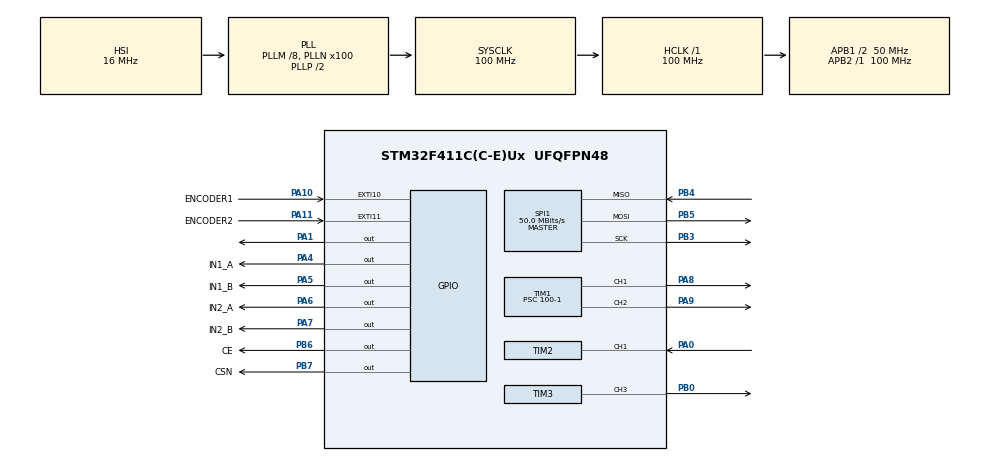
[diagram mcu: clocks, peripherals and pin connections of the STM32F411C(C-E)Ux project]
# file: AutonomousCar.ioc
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Mcu.Family=STM32F4
Mcu.Name=STM32F411C(C-E)Ux
Mcu.Package=UFQFPN48
NVIC.EXTI15_10_IRQn=true\:0\:0\:false\:false\:true\:true\:true\:true
NVIC.PriorityGroup=NVIC_PRIORITYGROUP_4
NVIC.TIM2_IRQn=true\:0\:0\:false\:false\:true\:true\:true\:true
PA0-WKUP.Signal=S_TIM2_CH1_ETR
PA1.GPIO_Speed=GPIO_SPEED_FREQ_HIGH
PA1.Signal=GPIO_Output
PA10.GPIO_Label=ENCODER1
PA10.GPIO_PuPd=GPIO_PULLUP
PA10.Signal=GPXTI10
PA11.GPIO_Label=ENCODER2
PA11.GPIO_PuPd=GPIO_PULLUP
PA11.Signal=GPXTI11
PA13.Mode=Serial_Wire
PA13.Signal=SYS_JTMS-SWDIO
PA14.Mode=Serial_Wire
PA14.Signal=SYS_JTCK-SWCLK
PA4.GPIO_Label=IN1_A
PA4.Signal=GPIO_Output
PA5.GPIO_Label=IN1_B
PA5.Signal=GPIO_Output
PA6.GPIO_Label=IN2_A
PA6.Signal=GPIO_Output
PA7.GPIO_Label=IN2_B
PA7.Signal=GPIO_Output
PA8.Signal=S_TIM1_CH1
PA9.Signal=S_TIM1_CH2
PB0.Signal=S_TIM3_CH3
PB3.Mode=Full_Duplex_Master
PB3.Signal=SPI1_SCK
PB4.Mode=Full_Duplex_Master
PB4.Signal=SPI1_MISO
PB5.Mode=Full_Duplex_Master
PB5.Signal=SPI1_MOSI
PB6.GPIO_Label=CE
PB6.Signal=GPIO_Output
PB7.GPIO_Label=CSN
PB7.Signal=GPIO_Output
PH0\ -\ OSC_IN.Mode=HSE-External-Oscillator
PH0\ -\ OSC_IN.Signal=RCC_OSC_IN
PH1\ -\ OSC_OUT.Mode=HSE-External-Oscillator
PH1\ -\ OSC_OUT.Signal=RCC_OSC_OUT
ProjectManager.HeapSize=0x200
ProjectManager.StackSize=0x400
ProjectManager.TargetToolchain=MDK-ARM V5.32
RCC.48MHZClocksFreq_Value=50000000
RCC.AHBFreq_Value=100000000
RCC.APB1CLKDivider=RCC_HCLK_DIV2
RCC.APB1Freq_Value=50000000
RCC.APB1TimFreq_Value=100000000
RCC.APB2Freq_Value=100000000
RCC.APB2TimFreq_Value=100000000
RCC.CortexFreq_Value=100000000
RCC.HCLKFreq_Value=100000000
RCC.HSE_VALUE=25000000
RCC.HSI_VALUE=16000000
RCC.LSE_VALUE=32768
RCC.PLLM=8
RCC.PLLN=100
RCC.SYSCLKFreq_VALUE=100000000
RCC.SYSCLKSource=RCC_SYSCLKSOURCE_PLLCLK
RCC.VCOOutputFreq_Value=200000000
SH.S_TIM1_CH1.0=TIM1_CH1,PWM Generation1 CH1
SH.S_TIM1_CH2.0=TIM1_CH2,PWM Generation2 CH2
SH.S_TIM2_CH1_ETR.0=TIM2_CH1,Input_Capture1_from_TI1
SH.S_TIM3_CH3.0=TIM3_CH3,PWM Generation3 CH3
SPI1.CalculateBaudRate=50.0 MBits/s
SPI1.Direction=SPI_DIRECTION_2LINES
SPI1.Mode=SPI_MODE_MASTER
SPI1.VirtualType=VM_MASTER
TIM1.Channel-PWM\ Generation1\ CH1=TIM_CHANNEL_1
TIM1.Channel-PWM\ Generation2\ CH2=TIM_CHANNEL_2
TIM1.Period=2000
TIM1.Prescaler=100-1
TIM1.Pulse-PWM\ Generation1\ CH1=800
TIM1.Pulse-PWM\ Generation2\ CH2=800
TIM2.Channel-Input_Capture1_from_TI1=TIM_CHANNEL_1
TIM2.Period=0xffffffff
TIM2.Prescaler=100-1
TIM3.Channel-PWM\ Generation3\ CH3=TIM_CHANNEL_3
TIM3.Period=20000
TIM3.Prescaler=100-1
TIM3.Pulse-PWM\ Generation3\ CH3=1000
VP_TIM1_VS_ClockSourceINT.Mode=Internal
VP_TIM2_VS_ClockSourceINT.Mode=Internal
VP_TIM3_VS_ClockSourceINT.Mode=Internal
board=custom

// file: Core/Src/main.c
/* USER CODE BEGIN Header */
/**
  ******************************************************************************
  * @file           : main.c
  * @brief          : Main program body
  ******************************************************************************
  * @attention
  *
  * Copyright (c) 2023 STMicroelectronics.
  * All rights reserved.
  *
  * This software is licensed under terms that can be found in the LICENSE file
  * in the root directory of this software component.
  * If no LICENSE file comes with this software, it is provided AS-IS.
  *
  ******************************************************************************
  */
/* USER CODE END Header */
#include "main.h"

/* USER CODE BEGIN Includes */
#include "delayUs.h"
#include "HC_SR04.h"
#include "NRF24L01.h"
/* USER CODE END Includes */

/* USER CODE BEGIN PD */
#define MAX_LENGTH_DATA 32
/* USER CODE END PD */

SPI_HandleTypeDef hspi1;

TIM_HandleTypeDef htim1;
TIM_HandleTypeDef htim2;
TIM_HandleTypeDef htim3;

/* USER CODE BEGIN PV */
extern uint8_t Distance;
uint32_t count = 0;

uint8_t RX_Address[] = {0xEE, 0xDD, 0xCC, 0xBB, 0xAA};
uint8_t RX_Data[MAX_LENGTH_DATA];
/* USER CODE END PV */

void SystemClock_Config(void);
static void MX_GPIO_Init(void);
static void MX_TIM1_Init(void);
static void MX_TIM2_Init(void);
static void MX_SPI1_Init(void);
static void MX_TIM3_Init(void);

int main(void)
{

  /* MCU Configuration--------------------------------------------------------*/

  /* Reset of all peripherals, Initializes the Flash interface and the Systick. */
  HAL_Init();

  /* Configure the system clock */
  SystemClock_Config();

  /* Initialize all configured peripherals */
  MX_GPIO_Init();
  MX_TIM1_Init();
  MX_TIM2_Init();
  MX_SPI1_Init();
  MX_TIM3_Init();
  /* USER CODE BEGIN 2 */
	NRF24_Init();
	NRF24_RxMode(RX_Address, 10);

	HAL_TIM_IC_Start_IT(&htim2, TIM_CHANNEL_1);
	HAL_TIM_PWM_Start(&htim1, TIM_CHANNEL_1);
	HAL_TIM_PWM_Start(&htim1, TIM_CHANNEL_2);
	__HAL_TIM_SET_COMPARE(&htim1, TIM_CHANNEL_1, 500);
  __HAL_TIM_SET_COMPARE(&htim1, TIM_CHANNEL_2, 500);
	HAL_GPIO_WritePin(GPIOA, IN1_A_Pin, GPIO_PIN_SET);
	HAL_GPIO_WritePin(GPIOA, IN1_B_Pin, GPIO_PIN_RESET);
	HAL_GPIO_WritePin(GPIOA, IN2_A_Pin, GPIO_PIN_SET);
	HAL_GPIO_WritePin(GPIOA, IN2_B_Pin, GPIO_PIN_RESET);
  /* USER CODE END 2 */

  /* Infinite loop */
  /* USER CODE BEGIN WHILE */
  while (1)
  {
		//HCSR04_Read();

		if (isDataAvailable(1) == 1)
		{
			count++;
			NRF24_Receive(RX_Data);
		}
		HAL_Delay(80);
    /* USER CODE END WHILE */

  }
}

void SystemClock_Config(void)
{
  RCC_OscInitTypeDef RCC_OscInitStruct = {0};
  RCC_ClkInitTypeDef RCC_ClkInitStruct = {0};

  /** Configure the main internal regulator output voltage
  */
  __HAL_RCC_PWR_CLK_ENABLE();
  __HAL_PWR_VOLTAGESCALING_CONFIG(PWR_REGULATOR_VOLTAGE_SCALE1);

  /** Initializes the RCC Oscillators according to the specified parameters
  * in the RCC_OscInitTypeDef structure.
  */
  RCC_OscInitStruct.OscillatorType = RCC_OSCILLATORTYPE_HSI;
  RCC_OscInitStruct.HSIState = RCC_HSI_ON;
  RCC_OscInitStruct.HSICalibrationValue = RCC_HSICALIBRATION_DEFAULT;
  RCC_OscInitStruct.PLL.PLLState = RCC_PLL_ON;
  RCC_OscInitStruct.PLL.PLLSource = RCC_PLLSOURCE_HSI;
  RCC_OscInitStruct.PLL.PLLM = 8;
  RCC_OscInitStruct.PLL.PLLN = 100;
  RCC_OscInitStruct.PLL.PLLP = RCC_PLLP_DIV2;
  RCC_OscInitStruct.PLL.PLLQ = 4;
  if (HAL_RCC_OscConfig(&RCC_OscInitStruct) != HAL_OK)
  {
    Error_Handler();
  }

  /** Initializes the CPU, AHB and APB buses clocks
  */
  RCC_ClkInitStruct.ClockType = RCC_CLOCKTYPE_HCLK|RCC_CLOCKTYPE_SYSCLK
                              |RCC_CLOCKTYPE_PCLK1|RCC_CLOCKTYPE_PCLK2;
  RCC_ClkInitStruct.SYSCLKSource = RCC_SYSCLKSOURCE_PLLCLK;
  RCC_ClkInitStruct.AHBCLKDivider = RCC_SYSCLK_DIV1;
  RCC_ClkInitStruct.APB1CLKDivider = RCC_HCLK_DIV2;
  RCC_ClkInitStruct.APB2CLKDivider = RCC_HCLK_DIV1;

  if (HAL_RCC_ClockConfig(&RCC_ClkInitStruct, FLASH_LATENCY_3) != HAL_OK)
  {
    Error_Handler();
  }
}

static void MX_SPI1_Init(void)
{

  /* SPI1 parameter configuration*/
  hspi1.Instance = SPI1;
  hspi1.Init.Mode = SPI_MODE_MASTER;
  hspi1.Init.Direction = SPI_DIRECTION_2LINES;
  hspi1.Init.DataSize = SPI_DATASIZE_8BIT;
  hspi1.Init.CLKPolarity = SPI_POLARITY_LOW;
  hspi1.Init.CLKPhase = SPI_PHASE_1EDGE;
  hspi1.Init.NSS = SPI_NSS_SOFT;
  hspi1.Init.BaudRatePrescaler = SPI_BAUDRATEPRESCALER_2;
  hspi1.Init.FirstBit = SPI_FIRSTBIT_MSB;
  hspi1.Init.TIMode = SPI_TIMODE_DISABLE;
  hspi1.Init.CRCCalculation = SPI_CRCCALCULATION_DISABLE;
  hspi1.Init.CRCPolynomial = 10;
  if (HAL_SPI_Init(&hspi1) != HAL_OK)
  {
    Error_Handler();
  }

}

static void MX_TIM1_Init(void)
{

  TIM_ClockConfigTypeDef sClockSourceConfig = {0};
  TIM_MasterConfigTypeDef sMasterConfig = {0};
  TIM_OC_InitTypeDef sConfigOC = {0};
  TIM_BreakDeadTimeConfigTypeDef sBreakDeadTimeConfig = {0};

  htim1.Instance = TIM1;
  htim1.Init.Prescaler = 100-1;
  htim1.Init.CounterMode = TIM_COUNTERMODE_UP;
  htim1.Init.Period = 2000;
  htim1.Init.ClockDivision = TIM_CLOCKDIVISION_DIV1;
  htim1.Init.RepetitionCounter = 0;
  htim1.Init.AutoReloadPreload = TIM_AUTORELOAD_PRELOAD_DISABLE;
  if (HAL_TIM_Base_Init(&htim1) != HAL_OK)
  {
    Error_Handler();
  }
  sClockSourceConfig.ClockSource = TIM_CLOCKSOURCE_INTERNAL;
  if (HAL_TIM_ConfigClockSource(&htim1, &sClockSourceConfig) != HAL_OK)
  {
    Error_Handler();
  }
  if (HAL_TIM_PWM_Init(&htim1) != HAL_OK)
  {
    Error_Handler();
  }
  sMasterConfig.MasterOutputTrigger = TIM_TRGO_RESET;
  sMasterConfig.MasterSlaveMode = TIM_MASTERSLAVEMODE_DISABLE;
  if (HAL_TIMEx_MasterConfigSynchronization(&htim1, &sMasterConfig) != HAL_OK)
  {
    Error_Handler();
  }
  sConfigOC.OCMode = TIM_OCMODE_PWM1;
  sConfigOC.Pulse = 800;
  sConfigOC.OCPolarity = TIM_OCPOLARITY_HIGH;
  sConfigOC.OCNPolarity = TIM_OCNPOLARITY_HIGH;
  sConfigOC.OCFastMode = TIM_OCFAST_DISABLE;
  sConfigOC.OCIdleState = TIM_OCIDLESTATE_RESET;
  sConfigOC.OCNIdleState = TIM_OCNIDLESTATE_RESET;
  if (HAL_TIM_PWM_ConfigChannel(&htim1, &sConfigOC, TIM_CHANNEL_1) != HAL_OK)
  {
    Error_Handler();
  }
  if (HAL_TIM_PWM_ConfigChannel(&htim1, &sConfigOC, TIM_CHANNEL_2) != HAL_OK)
  {
    Error_Handler();
  }
  sBreakDeadTimeConfig.OffStateRunMode = TIM_OSSR_DISABLE;
  sBreakDeadTimeConfig.OffStateIDLEMode = TIM_OSSI_DISABLE;
  sBreakDeadTimeConfig.LockLevel = TIM_LOCKLEVEL_OFF;
  sBreakDeadTimeConfig.DeadTime = 0;
  sBreakDeadTimeConfig.BreakState = TIM_BREAK_DISABLE;
  sBreakDeadTimeConfig.BreakPolarity = TIM_BREAKPOLARITY_HIGH;
  sBreakDeadTimeConfig.AutomaticOutput = TIM_AUTOMATICOUTPUT_DISABLE;
  if (HAL_TIMEx_ConfigBreakDeadTime(&htim1, &sBreakDeadTimeConfig) != HAL_OK)
  {
    Error_Handler();
  }
  HAL_TIM_MspPostInit(&htim1);

}

static void MX_TIM2_Init(void)
{

  TIM_ClockConfigTypeDef sClockSourceConfig = {0};
  TIM_MasterConfigTypeDef sMasterConfig = {0};
  TIM_IC_InitTypeDef sConfigIC = {0};

  htim2.Instance = TIM2;
  htim2.Init.Prescaler = 100-1;
  htim2.Init.CounterMode = TIM_COUNTERMODE_UP;
  htim2.Init.Period = 0xffffffff;
  htim2.Init.ClockDivision = TIM_CLOCKDIVISION_DIV1;
  htim2.Init.AutoReloadPreload = TIM_AUTORELOAD_PRELOAD_DISABLE;
  if (HAL_TIM_Base_Init(&htim2) != HAL_OK)
  {
    Error_Handler();
  }
  sClockSourceConfig.ClockSource = TIM_CLOCKSOURCE_INTERNAL;
  if (HAL_TIM_ConfigClockSource(&htim2, &sClockSourceConfig) != HAL_OK)
  {
    Error_Handler();
  }
  if (HAL_TIM_IC_Init(&htim2) != HAL_OK)
  {
    Error_Handler();
  }
  sMasterConfig.MasterOutputTrigger = TIM_TRGO_RESET;
  sMasterConfig.MasterSlaveMode = TIM_MASTERSLAVEMODE_DISABLE;
  if (HAL_TIMEx_MasterConfigSynchronization(&htim2, &sMasterConfig) != HAL_OK)
  {
    Error_Handler();
  }
  sConfigIC.ICPolarity = TIM_INPUTCHANNELPOLARITY_RISING;
  sConfigIC.ICSelection = TIM_ICSELECTION_DIRECTTI;
  sConfigIC.ICPrescaler = TIM_ICPSC_DIV1;
  sConfigIC.ICFilter = 0;
  if (HAL_TIM_IC_ConfigChannel(&htim2, &sConfigIC, TIM_CHANNEL_1) != HAL_OK)
  {
    Error_Handler();
  }

}

static void MX_TIM3_Init(void)
{

  TIM_ClockConfigTypeDef sClockSourceConfig = {0};
  TIM_MasterConfigTypeDef sMasterConfig = {0};
  TIM_OC_InitTypeDef sConfigOC = {0};

  htim3.Instance = TIM3;
  htim3.Init.Prescaler = 100-1;
  htim3.Init.CounterMode = TIM_COUNTERMODE_UP;
  htim3.Init.Period = 20000;
  htim3.Init.ClockDivision = TIM_CLOCKDIVISION_DIV1;
  htim3.Init.AutoReloadPreload = TIM_AUTORELOAD_PRELOAD_DISABLE;
  if (HAL_TIM_Base_Init(&htim3) != HAL_OK)
  {
    Error_Handler();
  }
  sClockSourceConfig.ClockSource = TIM_CLOCKSOURCE_INTERNAL;
  if (HAL_TIM_ConfigClockSource(&htim3, &sClockSourceConfig) != HAL_OK)
  {
    Error_Handler();
  }
  if (HAL_TIM_PWM_Init(&htim3) != HAL_OK)
  {
    Error_Handler();
  }
  sMasterConfig.MasterOutputTrigger = TIM_TRGO_RESET;
  sMasterConfig.MasterSlaveMode = TIM_MASTERSLAVEMODE_DISABLE;
  if (HAL_TIMEx_MasterConfigSynchronization(&htim3, &sMasterConfig) != HAL_OK)
  {
    Error_Handler();
  }
  sConfigOC.OCMode = TIM_OCMODE_PWM1;
  sConfigOC.Pulse = 1000;
  sConfigOC.OCPolarity = TIM_OCPOLARITY_HIGH;
  sConfigOC.OCFastMode = TIM_OCFAST_DISABLE;
  if (HAL_TIM_PWM_ConfigChannel(&htim3, &sConfigOC, TIM_CHANNEL_3) != HAL_OK)
  {
    Error_Handler();
  }
  HAL_TIM_MspPostInit(&htim3);

}

static void MX_GPIO_Init(void)
{
  GPIO_InitTypeDef GPIO_InitStruct = {0};

  /* GPIO Ports Clock Enable */
  __HAL_RCC_GPIOH_CLK_ENABLE();
  __HAL_RCC_GPIOA_CLK_ENABLE();
  __HAL_RCC_GPIOB_CLK_ENABLE();

  /*Configure GPIO pin Output Level */
  HAL_GPIO_WritePin(GPIOA, GPIO_PIN_1|IN1_A_Pin|IN1_B_Pin|IN2_A_Pin
                          |IN2_B_Pin, GPIO_PIN_RESET);

  /*Configure GPIO pin Output Level */
  HAL_GPIO_WritePin(GPIOB, CE_Pin|CSN_Pin, GPIO_PIN_RESET);

  /*Configure GPIO pin : PA1 */
  GPIO_InitStruct.Pin = GPIO_PIN_1;
  GPIO_InitStruct.Mode = GPIO_MODE_OUTPUT_PP;
  GPIO_InitStruct.Pull = GPIO_NOPULL;
  GPIO_InitStruct.Speed = GPIO_SPEED_FREQ_HIGH;
  HAL_GPIO_Init(GPIOA, &GPIO_InitStruct);

  /*Configure GPIO pins : IN1_A_Pin IN1_B_Pin IN2_A_Pin IN2_B_Pin */
  GPIO_InitStruct.Pin = IN1_A_Pin|IN1_B_Pin|IN2_A_Pin|IN2_B_Pin;
  GPIO_InitStruct.Mode = GPIO_MODE_OUTPUT_PP;
  GPIO_InitStruct.Pull = GPIO_NOPULL;
  GPIO_InitStruct.Speed = GPIO_SPEED_FREQ_LOW;
  HAL_GPIO_Init(GPIOA, &GPIO_InitStruct);

  /*Configure GPIO pins : ENCODER1_Pin ENCODER2_Pin */
  GPIO_InitStruct.Pin = ENCODER1_Pin|ENCODER2_Pin;
  GPIO_InitStruct.Mode = GPIO_MODE_IT_RISING;
  GPIO_InitStruct.Pull = GPIO_PULLUP;
  HAL_GPIO_Init(GPIOA, &GPIO_InitStruct);

  /*Configure GPIO pins : CE_Pin CSN_Pin */
  GPIO_InitStruct.Pin = CE_Pin|CSN_Pin;
  GPIO_InitStruct.Mode = GPIO_MODE_OUTPUT_PP;
  GPIO_InitStruct.Pull = GPIO_NOPULL;
  GPIO_InitStruct.Speed = GPIO_SPEED_FREQ_LOW;
  HAL_GPIO_Init(GPIOB, &GPIO_InitStruct);

  /* EXTI interrupt init*/
  HAL_NVIC_SetPriority(EXTI15_10_IRQn, 0, 0);
  HAL_NVIC_EnableIRQ(EXTI15_10_IRQn);

}

void Error_Handler(void)
{
  __disable_irq();
  while (1)
  {
  }
}
